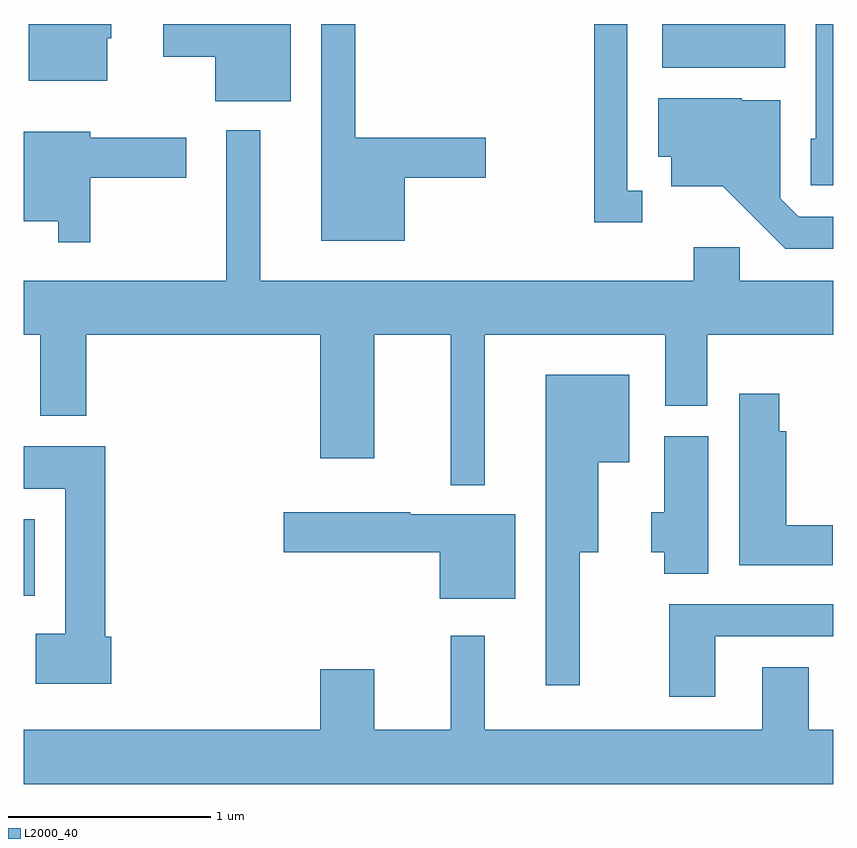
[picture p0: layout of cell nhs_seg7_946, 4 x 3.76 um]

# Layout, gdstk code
import gdstk
lib = gdstk.Library(unit=1e-6, precision=1e-09)
def R(c, l, rs):  # rectangles x0, y0, x1, y1
    for r in rs: c.add(gdstk.rectangle(r[:2], r[2:], *l))
def P(c, l, *ps):  # polygons
    for p in ps: c.add(gdstk.Polygon(p, *l))
L2000_40 = (2000, 40)

nhs_seg7_946 = lib.new_cell('nhs_seg7_946')
R(nhs_seg7_946, L2000_40, [(213.611,1757.426,213.664,1757.804), (216.766,1760.036,217.374,1760.252)])
P(nhs_seg7_946, L2000_40, [(214.929,1760.252),(214.301,1760.252),(214.301,1760.091),(214.556,1760.091),(214.556,1759.871),(214.929,1759.871)],
  [(217.611,1760.252),(217.526,1760.252),(217.526,1759.684),(217.501,1759.684),(217.501,1759.456),(217.611,1759.456)],
  [(215.494,1759.491),(215.894,1759.491),(215.894,1759.689),(215.249,1759.689),(215.249,1760.252),(215.081,1760.252),(215.081,1759.181),(215.494,1759.181)],
  [(216.668,1759.429),(216.594,1759.429),(216.594,1760.252),(216.431,1760.252),(216.431,1759.271),(216.668,1759.271)],
  [(214.024,1760.181),(214.044,1760.181),(214.044,1760.252),(213.636,1760.252),(213.636,1759.971),(214.024,1759.971)],
  [(217.611,1759.299),(217.442,1759.299),(217.349,1759.392),(217.349,1759.874),(217.16,1759.874),(217.16,1759.884),(216.746,1759.884),(216.746,1759.596),(216.811,1759.596),(216.811,1759.451),(217.064,1759.451),(217.374,1759.141),(217.611,1759.141)],
  [(215.889,1758.716),(216.781,1758.716),(216.781,1758.366),(216.989,1758.366),(216.989,1758.716),(217.611,1758.716),(217.611,1758.984),(217.149,1758.984),(217.149,1759.149),(216.921,1759.149),(216.921,1758.984),(214.779,1758.984),(214.779,1759.728),(214.611,1759.728),(214.611,1758.984),(213.611,1758.984),(213.611,1758.716),(213.691,1758.716),(213.691,1758.316),(213.919,1758.316),(213.919,1758.716),(215.076,1758.716),(215.076,1758.106),(215.344,1758.106),(215.344,1758.716),(215.721,1758.716),(215.721,1757.973),(215.889,1757.973)],
  [(213.939,1759.491),(214.414,1759.491),(214.414,1759.689),(213.939,1759.689),(213.939,1759.719),(213.611,1759.719),(213.611,1759.276),(213.781,1759.276),(213.781,1759.173),(213.939,1759.173)],
  [(216.359,1757.641),(216.449,1757.641),(216.449,1758.086),(216.604,1758.086),(216.604,1758.519),(216.191,1758.519),(216.191,1756.983),(216.359,1756.983)],
  [(217.609,1757.774),(217.379,1757.774),(217.379,1758.239),(217.344,1758.239),(217.344,1758.424),(217.146,1758.424),(217.146,1757.576),(217.609,1757.576)],
  [(216.994,1758.214),(216.776,1758.214),(216.776,1757.839),(216.711,1757.839),(216.711,1757.641),(216.776,1757.641),(216.776,1757.536),(216.994,1757.536)],
  [(214.044,1757.224),(214.014,1757.224),(214.014,1758.164),(213.611,1758.164),(213.611,1757.956),(213.816,1757.956),(213.816,1757.239),(213.671,1757.239),(213.671,1756.991),(214.044,1756.991)],
  [(216.039,1757.829),(215.52,1757.829),(215.52,1757.839),(214.896,1757.839),(214.896,1757.641),(215.666,1757.641),(215.666,1757.411),(216.039,1757.411)],
  [(217.029,1757.226),(217.611,1757.226),(217.611,1757.384),(216.801,1757.384),(216.801,1756.926),(217.029,1756.926)],
  [(217.611,1756.764),(217.489,1756.764),(217.489,1757.074),(217.261,1757.074),(217.261,1756.764),(215.889,1756.764),(215.889,1757.228),(215.721,1757.228),(215.721,1756.764),(215.344,1756.764),(215.344,1757.064),(215.076,1757.064),(215.076,1756.764),(213.611,1756.764),(213.611,1756.496),(217.611,1756.496)])

lib.write_gds('nhs_seg7_946.gds')
